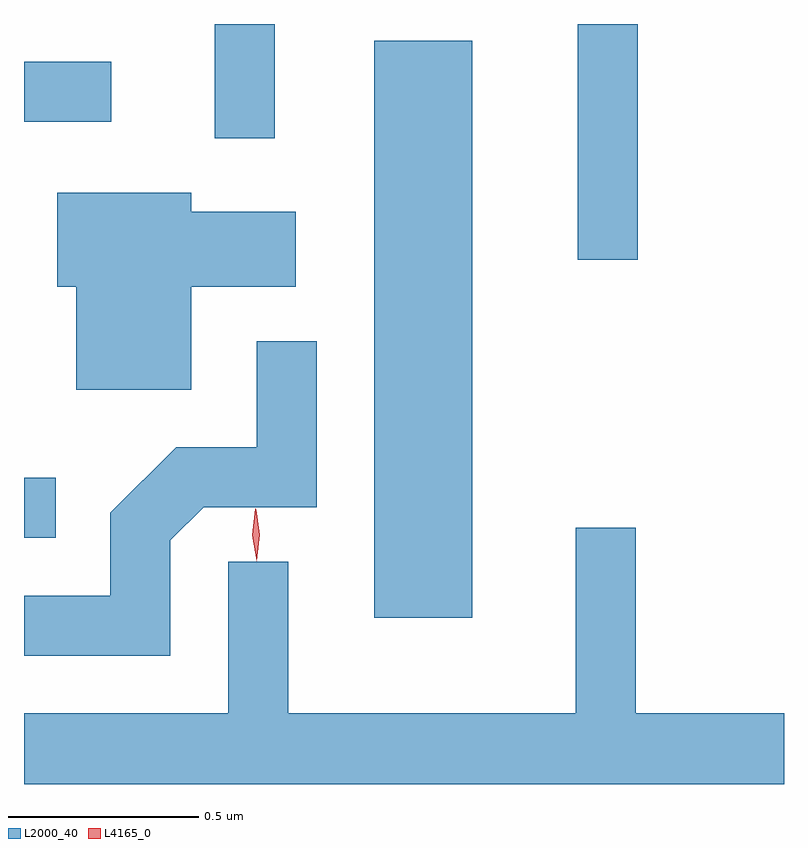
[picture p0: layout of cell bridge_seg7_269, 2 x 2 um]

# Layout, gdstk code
import gdstk
lib = gdstk.Library(unit=1e-6, precision=1e-09)
def R(c, l, rs):  # rectangles x0, y0, x1, y1
    for r in rs: c.add(gdstk.rectangle(r[:2], r[2:], *l))
def P(c, l, *ps):  # polygons
    for p in ps: c.add(gdstk.Polygon(p, *l))
L2000_40 = (2000, 40)
L4165_0 = (4165, 0)

bridge_seg7_269 = lib.new_cell('bridge_seg7_269')
R(bridge_seg7_269, L2000_40, [(1795.566,1721.496,1795.824,1723.014), (1794.644,1721.706,1794.728,1721.864), (1796.101,1722.438,1796.259,1723.058), (1795.146,1722.758,1795.304,1723.058), (1794.644,1722.801,1794.873,1722.959)])
P(bridge_seg7_269, L2000_40, [(1795.084,1722.366),(1795.359,1722.366),(1795.359,1722.564),(1795.084,1722.564),(1795.084,1722.614),(1794.731,1722.614),(1794.731,1722.366),(1794.781,1722.366),(1794.781,1722.096),(1795.084,1722.096)],
  [(1795.029,1721.699),(1795.117,1721.786),(1795.414,1721.786),(1795.414,1722.223),(1795.256,1722.223),(1795.256,1721.944),(1795.044,1721.944),(1794.871,1721.772),(1794.871,1721.554),(1794.644,1721.554),(1794.644,1721.396),(1795.029,1721.396)],
  [(1796.644,1721.244),(1796.254,1721.244),(1796.254,1721.733),(1796.096,1721.733),(1796.096,1721.244),(1795.339,1721.244),(1795.339,1721.643),(1795.181,1721.643),(1795.181,1721.244),(1794.644,1721.244),(1794.644,1721.058),(1796.644,1721.058)])
P(bridge_seg7_269, L4165_0, [(1795.257,1721.647),(1795.256,1721.648),(1795.245,1721.714),(1795.254,1721.78),(1795.254,1721.781),(1795.255,1721.78),(1795.265,1721.714),(1795.257,1721.648)],
  [(1795.256,1721.644),(1795.256,1721.645),(1795.245,1721.713),(1795.253,1721.783),(1795.254,1721.783),(1795.254,1721.783),(1795.265,1721.714),(1795.257,1721.645)])

lib.write_gds('bridge_seg7_269.gds')
